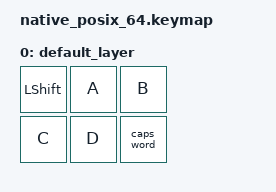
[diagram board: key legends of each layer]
#include <dt-bindings/zmk/keys.h>
#include <behaviors.dtsi>
#include <dt-bindings/zmk/kscan_mock.h>

&caps_word {
    auto-activate-upper-count = <3>;
};

/ {
    keymap {
        compatible = "zmk,keymap";

        default_layer {
            bindings = <
                &kp LSHFT &kp A &kp B
                &kp C     &kp D &caps_word
            >;
        };
    };
};

&kscan {
    events = <
        ZMK_MOCK_PRESS(0,0,10)
        ZMK_MOCK_PRESS(0,1,10)
        ZMK_MOCK_RELEASE(0,1,10)
        ZMK_MOCK_PRESS(0,2,10)
        ZMK_MOCK_RELEASE(0,2,10)
        ZMK_MOCK_PRESS(1,0,10)
        ZMK_MOCK_RELEASE(1,0,10)
        ZMK_MOCK_RELEASE(0,0,10)
        ZMK_MOCK_PRESS(1,1,10)
        ZMK_MOCK_RELEASE(1,1,10)
    >;
};
